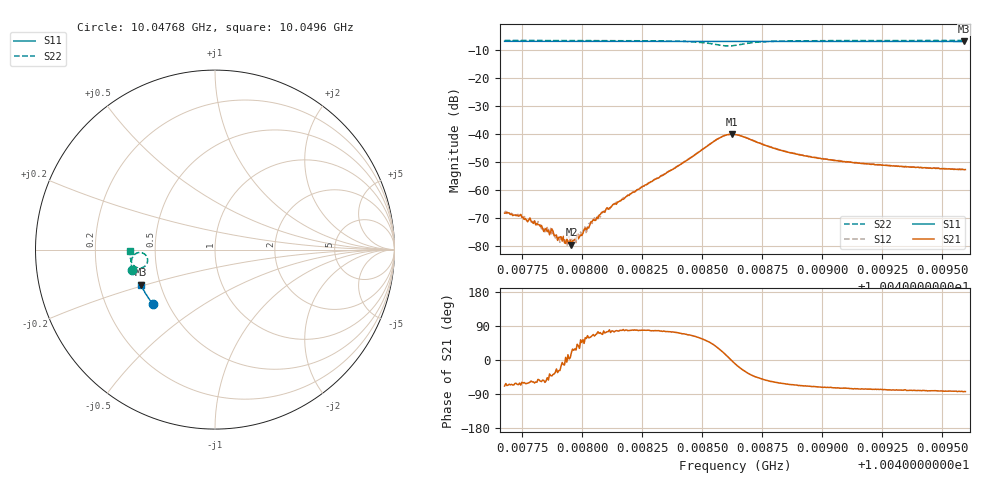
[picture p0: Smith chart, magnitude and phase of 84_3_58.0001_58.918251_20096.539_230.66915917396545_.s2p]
#  HZ  S  RI  R  50.00
! Rohde & Schwarz Vector Network Analyzer
! Rohde-Schwarz,ZNB20-2Port,1311601062101988,3.16
! Created: UTC 3/21/2024, 12:54:02 AM
! freq[Hz]  re:S11  im:S11  re:S21  im:S21  re:S12  im:S12  re:S22  im:S22
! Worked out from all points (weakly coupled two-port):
!   401 points, 10.04768 GHz to 10.0496 GHz, reference 50 ohm
!   highest |S21| = -40.00 dB at 10.04862 GHz (marker M1); lowest = -79.5 dB at 10.04795 GHz (marker M2)
!   lowest |S11| = -6.8 dB at 10.04959 GHz (marker M3), VSWR 2.68, Z = 19.5 - j9.61 ohm
!   |S11| at or under -10 dB: nowhere
!   |S22| runs from -8.4 to -6.4 dB; largest |S21 - S12| = 0.00069
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1.0047676e10  -0.3462 -0.3027  0.000143 -0.000363  0.000184 -0.000363  -0.4621 -0.1146
1.0047738e10  -0.3488 -0.2996  0.000171 -0.000306  0.000185 -0.000303  -0.463 -0.1099
1.004781e10  -0.3518 -0.2957  0.000132 -0.000217  0.00014 -0.000193  -0.4639 -0.1044
1.0047844e10  -0.3531 -0.2939  0.000101 -0.00017  0.00012 -0.000134  -0.4644 -0.1017
1.0047882e10  -0.3549 -0.2919  0.000123 -9.24e-05  0.000139 -7.83e-05  -0.4649 -0.0987
1.0047892e10  -0.3552 -0.2916  0.000145 -6.33e-05  0.000124 -7.83e-05  -0.4649 -0.0979
1.004793e10  -0.3566 -0.2894  0.000112 1.36e-05  0.000119 1.81e-05  -0.4655 -0.0948
1.0047954e10  -0.3576 -0.2881  0.0001 3.61e-05  0.000132 3.82e-05  -0.4656 -0.0926
1.0047964e10  -0.358 -0.2877  0.000113 5.39e-05  0.000115 7.6e-05  -0.4656 -0.092
1.0047997e10  -0.3594 -0.2859  0.000108 0.000112  8.27e-05 0.000135  -0.4659 -0.089
1.0048041e10  -0.3611 -0.2835  0.000119 0.000249  8.55e-05 0.000239  -0.4663 -0.0851
1.0048093e10  -0.3632 -0.2807  0.000129 0.000382  8.77e-05 0.000419  -0.4665 -0.0803
1.004818e10  -0.3666 -0.276  0.000145 0.000742  0.000109 0.000753  -0.4665 -0.0713
1.0048319e10  -0.3718 -0.2683  0.000362 0.00164  0.000304 0.00168  -0.464 -0.0539
1.0048559e10  -0.38 -0.2546  0.00665 0.00456  0.00635 0.00499  -0.4014 -0.0197
1.0048622e10  -0.3817 -0.2516  0.01 -0.000208  0.01 0.000484  -0.3758 -0.0666
1.0048636e10  -0.3821 -0.251  0.00978 -0.00168  0.00992 -0.00102  -0.3801 -0.0795
1.0048819e10  -0.389 -0.2411  0.00261 -0.00461  0.00292 -0.00448  -0.4552 -0.0861
1.0048958e10  -0.3938 -0.2329  0.00132 -0.00365  0.00158 -0.00359  -0.4667 -0.0659
1.004928e10  -0.4037 -0.214  0.000539 -0.00271  0.00069 -0.00268  -0.4736 -0.0341
1.0049592e10  -0.4124 -0.1954  0.000278 -0.00231  0.000431 -0.00232  -0.4752 -0.00963
1.0049597e10  -0.4128 -0.195  0.00027 -0.00232  0.00045 -0.0023  -0.4751 -0.00918
